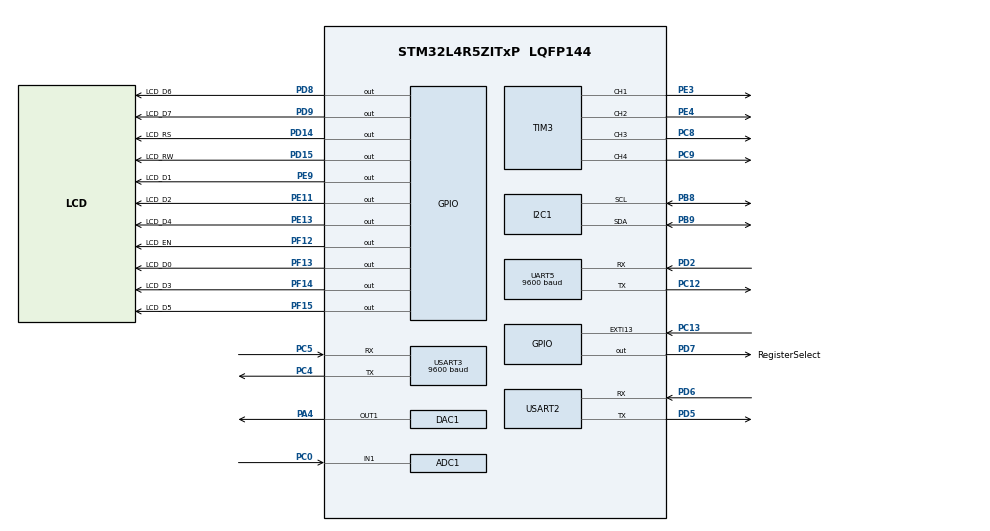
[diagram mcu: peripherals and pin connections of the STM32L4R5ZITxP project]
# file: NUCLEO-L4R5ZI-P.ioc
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ADC1.Channel-0\#ChannelRegularConversion=ADC_CHANNEL_1
ADC1.ClockPrescaler=ADC_CLOCK_ASYNC_DIV32
ADC1.ContinuousConvMode=ENABLE
ADC1.DMAContinuousRequests=ENABLE
ADC1.NbrOfConversion=1
ADC1.NbrOfConversionFlag=1
ADC1.OffsetNumber-0\#ChannelRegularConversion=ADC_OFFSET_NONE
ADC1.Rank-0\#ChannelRegularConversion=1
ADC1.SamplingTime-0\#ChannelRegularConversion=ADC_SAMPLETIME_640CYCLES_5
ADC1.master=1
Dma.ADC1.0.Direction=DMA_PERIPH_TO_MEMORY
Dma.ADC1.0.EventEnable=DISABLE
Dma.ADC1.0.Instance=DMA1_Channel1
Dma.ADC1.0.MemDataAlignment=DMA_MDATAALIGN_HALFWORD
Dma.ADC1.0.MemInc=DMA_MINC_ENABLE
Dma.ADC1.0.Mode=DMA_CIRCULAR
Dma.ADC1.0.PeriphDataAlignment=DMA_PDATAALIGN_HALFWORD
Dma.ADC1.0.PeriphInc=DMA_PINC_DISABLE
Dma.ADC1.0.Polarity=HAL_DMAMUX_REQUEST_GEN_RISING
Dma.ADC1.0.Priority=DMA_PRIORITY_LOW
Dma.ADC1.0.RequestNumber=1
Dma.ADC1.0.SignalID=NONE
Dma.ADC1.0.SyncEnable=DISABLE
Dma.ADC1.0.SyncPolarity=HAL_DMAMUX_SYNC_NO_EVENT
Dma.ADC1.0.SyncRequestNumber=1
Dma.ADC1.0.SyncSignalID=NONE
Dma.Request0=ADC1
I2C1.Timing=0x00100D14
Mcu.Family=STM32L4
Mcu.Name=STM32L4R5ZITxP
Mcu.Package=LQFP144
NVIC.DMA1_Channel1_IRQn=true\:0\:0\:false\:false\:true\:false\:true\:true
NVIC.EXTI15_10_IRQn=true\:0\:0\:false\:false\:true\:true\:true\:true
NVIC.PriorityGroup=NVIC_PRIORITYGROUP_4
NVIC.TIM2_IRQn=true\:0\:0\:false\:false\:true\:true\:true\:true
PA0.Signal=S_TIM2_CH1
PA1.Signal=ADCx_IN6
PA10.Signal=USB_OTG_FS_ID
PA13\ (JTMS/SWDIO).Signal=SYS_JTMS-SWDIO
PA14\ (JTCK/SWCLK).Signal=SYS_JTCK-SWCLK
PA3.Signal=ADCx_IN8
PA4.Signal=COMP_DAC11_group
PA5.Signal=SPI1_SCK
PA6.Signal=SPI1_MISO
PA7.Signal=SPI1_MOSI
PA8.Signal=USB_OTG_FS_SOF
PA9.Signal=USB_OTG_FS_VBUS
PB1.Signal=ADCx_IN16
PB10.Signal=S_TIM2_CH3
PB12.Signal=SAI2_FS_A
PB13.Signal=SAI2_SCK_A
PB14.Signal=S_TIM15_CH1
PB15.Signal=SAI2_SD_A
PB2.Signal=COMP1_INP
PB3\ (JTDO/TRACESWO).Signal=SPI3_SCK
PB5.Signal=SPI3_MOSI
PB6.Signal=COMP2_INP
PB8.Mode=I2C
PB8.Signal=I2C1_SCL
PB9.Mode=I2C
PB9.Signal=I2C1_SDA
PC0.Signal=ADCx_IN1
PC1.Signal=ADCx_IN2
PC10.Signal=SDMMC1_D2
PC11.Signal=SDMMC1_D3
PC12.Mode=Asynchronous
PC12.Signal=UART5_TX
PC13.Signal=GPXTI13
PC14-OSC32_IN\ (PC14).Signal=RCC_OSC32_IN
PC15-OSC32_OUT\ (PC15).Signal=RCC_OSC32_OUT
PC2.Signal=ADCx_IN3
PC3.Signal=ADCx_IN4
PC4.Mode=Asynchronous
PC4.Signal=USART3_TX
PC5.Mode=Asynchronous
PC5.Signal=USART3_RX
PC6.Signal=SAI2_MCLK_A
PC8.Signal=S_TIM3_CH3
PC9.Signal=S_TIM3_CH4
PD0.Signal=CAN1_RX
PD14.GPIO_Label=LCD_RS
PD14.Signal=GPIO_Output
PD15.GPIO_Label=LCD_RW
PD15.Signal=GPIO_Output
PD2.Mode=Asynchronous
PD2.Signal=UART5_RX
PD3.Signal=USART2_CTS
PD4.Signal=USART2_RTS
PD5.Mode=Asynchronous
PD5.Signal=USART2_TX
PD6.Mode=Asynchronous
PD6.Signal=USART2_RX
PD7.GPIO_Label=RegisterSelect
PD7.Signal=GPIO_Output
PD8.GPIO_Label=LCD_D6
PD8.Signal=GPIO_Output
PD9.GPIO_Label=LCD_D7
PD9.Signal=GPIO_Output
PE0.Signal=S_TIM4_ETR
PE10.Signal=TIM1_CH2N
PE11.GPIO_Label=LCD_D2
PE11.Signal=GPIO_Output
PE12.Signal=TIM1_CH3N
PE13.GPIO_Label=LCD_D4
PE13.Signal=GPIO_Output
PE14.Signal=TIM1_BKIN2
PE15.Signal=TIM1_BKIN
PE3.Signal=S_TIM3_CH1
PE4.Signal=S_TIM3_CH2
PE7.Signal=S_TIM1_ETR
PE8.Signal=TIM1_CH1N
PE9.GPIO_Label=LCD_D1
PE9.Signal=GPIO_Output
PF0.Signal=I2C2_SDA
PF1.Signal=I2C2_SCL
PF12.GPIO_Label=LCD_EN
PF12.Signal=GPIO_Output
PF13.GPIO_Label=LCD_D0
PF13.Signal=GPIO_Output
PF14.GPIO_Label=LCD_D3
PF14.Signal=GPIO_Output
PF15.GPIO_Label=LCD_D5
PF15.Signal=GPIO_Output
PF2.Signal=I2C2_SMBA
PF7.Signal=SAI1_MCLK_B
PG7.Signal=LPUART1_TX
PG8.Signal=LPUART1_RX
PH0-OSC_IN\ (PH0).Signal=RCC_OSC_IN
PH1-OSC_OUT\ (PH1).Signal=RCC_OSC_OUT
ProjectManager.HeapSize=0x200
ProjectManager.StackSize=0x400
ProjectManager.TargetToolchain=STM32CubeIDE
RCC.ADCFreq_Value=32000000
RCC.HSE_VALUE=8000000
RCC.HSI48_VALUE=48000000
RCC.HSI_VALUE=16000000
RCC.LSE_VALUE=32768
RCC.MSI_VALUE=4000000
RCC.PLLSAI1N=16
RCC.USBFreq_Value=32000000
RCC.VCOOutputFreq_Value=32000000
SH.ADCx_IN1.0=ADC1_IN1,IN1-Single-Ended
SH.ADCx_IN16.0=ADC1_IN16
SH.ADCx_IN2.0=ADC1_IN2
SH.ADCx_IN3.0=ADC1_IN3
SH.ADCx_IN4.0=ADC1_IN4
SH.ADCx_IN6.0=ADC1_IN6
SH.ADCx_IN8.0=ADC1_IN8
SH.COMP_DAC11_group.0=DAC1_OUT1,DAC_OUT1
SH.S_TIM15_CH1.0=TIM15_CH1
SH.S_TIM1_ETR.0=TIM1_ETR
SH.S_TIM2_CH1.0=TIM2_CH1
SH.S_TIM2_CH3.0=TIM2_CH3
SH.S_TIM3_CH1.0=TIM3_CH1,PWM Generation1 CH1
SH.S_TIM3_CH2.0=TIM3_CH2,PWM Generation2 CH2
SH.S_TIM3_CH3.0=TIM3_CH3,PWM Generation3 CH3
SH.S_TIM3_CH4.0=TIM3_CH4,PWM Generation4 CH4
SH.S_TIM4_ETR.0=TIM4_ETR
TIM2.Prescaler=3
TIM3.Channel-PWM\ Generation1\ CH1=TIM_CHANNEL_1
TIM3.Channel-PWM\ Generation2\ CH2=TIM_CHANNEL_2
TIM3.Channel-PWM\ Generation3\ CH3=TIM_CHANNEL_3
TIM3.Channel-PWM\ Generation4\ CH4=TIM_CHANNEL_4
UART5.BaudRate=9600
USART2.DataInvertParam=ADVFEATURE_DATAINV_DISABLE
USART2.TxPinLevelInvertParam=ADVFEATURE_TXINV_DISABLE
USART2.VirtualMode-Asynchronous=VM_ASYNC
USART3.BaudRate=9600
USART3.VirtualMode-Asynchronous=VM_ASYNC
VP_TIM2_VS_ClockSourceINT.Mode=Internal
VP_TIM3_VS_ClockSourceINT.Mode=Internal
board=NUCLEO-L4R5ZI-P

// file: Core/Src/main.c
/* USER CODE BEGIN Header */
/**
  ******************************************************************************
  * @file           : main.c
  * @brief          : Main program body
  ******************************************************************************
  * @attention
  *
  * Copyright (c) 2025 STMicroelectronics.
  * All rights reserved.
  *
  * This software is licensed under terms that can be found in the LICENSE file
  * in the root directory of this software component.
  * If no LICENSE file comes with this software, it is provided AS-IS.
  *
  ******************************************************************************
  */
/* USER CODE END Header */
#include "main.h"

/* USER CODE BEGIN Includes */
#define ADC_BUFFER_LENGTH 1
uint16_t adc_buffer[ADC_BUFFER_LENGTH];

/* USER CODE END Includes */

/* USER CODE BEGIN PD */

/*
 * MODES:
 * 0: Glove
 * 1: Vehicle
 * 2: Arm (Testing)
 */
#define MODE 0

// Add libraries as needed
#if MODE == 0
	#include "LiquidCrystal.h"

	#define accel_addr (0b0011001 << 1)
	#define CTRL_REG1_A 0x20
	#define lower_x (0x28 | 0x80)
	#define ACCELEROMETER_UART_ID 0
#elif MODE == 1
	#include <stdlib.h>
	#include <math.h>
	#include <string.h>
#elif MODE == 2
	#include "ArmDriver.h"
#endif
/* USER CODE END PD */

ADC_HandleTypeDef hadc1;
DMA_HandleTypeDef hdma_adc1;

DAC_HandleTypeDef hdac1;

I2C_HandleTypeDef hi2c1;

TIM_HandleTypeDef htim2;
TIM_HandleTypeDef htim3;

UART_HandleTypeDef huart5;
UART_HandleTypeDef huart2;
UART_HandleTypeDef huart3;

void SystemClock_Config(void);
static void MX_GPIO_Init(void);
static void MX_DMA_Init(void);
static void MX_I2C1_Init(void);
static void MX_ADC1_Init(void);
static void MX_DAC1_Init(void);
static void MX_USART3_UART_Init(void);
static void MX_TIM3_Init(void);
static void MX_UART5_Init(void);
static void MX_USART2_UART_Init(void);
static void MX_TIM2_Init(void);

/* USER CODE BEGIN 0 */

//#define MESSAGE_ID_POS 30
//#define NUM_PACKETS_POS 26
//#define CURRENT_PACKET_POS 22
//#define DATA_POS 6
//
//#define MESSAGE_ID_MASK (0b11 << MESSAGE_ID_POS)
//#define NUM_PACKETS_MASK (0xF << NUM_PACKETS_POS)
//#define CURRENT_PACKET_MASK (0xF << CURRENT_PACKET_POS)
//#define DATA_MASK (0xFFFF << DATA_POS)

#if MODE == 0
	int motor_on = 1;

	void HAL_GPIO_EXTI_Callback(uint16_t GPIO_Pin) {
		if(motor_on == 0) {
			motor_on = 1;
		}
		else {
			motor_on = 0;
		}
	}
#endif

// package data so that UART can receive consistent packages
// Data will be packaged into a 32-bit packets where:
// Bits 31-30: Message ID
// Bits 29-26: Total Number of Packets for this transmission
// Bits 25-22: Current packet number
// Bits 21-06: Data (16 bits = 2 chars)
// Bits 05-00: Reserved for idk
//uint32_t* packageData(int messageID, char* dataToPackage)
//{
//	// Get size of data
//	int size = 0;
//	char* dummy = dataToPackage;
//	while (dummy != NULL)
//	{
//		size++;
//		dummy++;
//	}
//
//	// Calculate number of packets (2 chars per packet)
//	int numPackets = ceil(size / 2);
//	if (numPackets > 16) { return NULL; }
//
//	// Package Data
//	uint32_t* packets = (uint32_t*)malloc(numPackets * sizeof(uint32_t));
//	for (int packetNum = 0; packetNum < numPackets; ++packetNum)
//	{
//		uint32_t toPackage = (messageID << MESSAGE_ID_POS) | (numPackets << NUM_PACKETS_POS) | (packetNum << CURRENT_PACKET_POS) | (dataToPackage[2*packetNum + 1] << (DATA_POS+8)) | (dataToPackage[2*packetNum] << DATA_POS);
//		packets[packetNum] = toPackage;
//	}
//
//	return packets;
//}
/* USER CODE END 0 */

int main(void)
{

  /* MCU Configuration--------------------------------------------------------*/

  /* Reset of all peripherals, Initializes the Flash interface and the Systick. */
  HAL_Init();

  /* Configure the system clock */
  SystemClock_Config();

  /* Initialize all configured peripherals */
  MX_GPIO_Init();
  MX_DMA_Init();
  MX_I2C1_Init();
  MX_ADC1_Init();
  MX_DAC1_Init();
  MX_USART3_UART_Init();
  MX_TIM3_Init();
  MX_UART5_Init();
  MX_USART2_UART_Init();
  MX_TIM2_Init();
  /* USER CODE BEGIN 2 */

  HAL_ADC_Start_DMA(&hadc1, (uint32_t*)adc_buffer, ADC_BUFFER_LENGTH);

#if MODE == 0 || MODE == 1
	// init variables
//	HAL_StatusTypeDef ret;
//	uint8_t buf[50];
//
//	int16_t x_val, y_val, z_val = 0;
//	char x_str[100];
//	char y_str[100];
//	char z_str[100];
//	char adc_str[100];

#endif

  #if MODE == 0
//    // Enable accelerometer
//    buf[0] = CTRL_REG1_A;
//    buf[1] = 0b10010111;
//
//    ret = HAL_I2C_Master_Transmit(&hi2c1, accel_addr, buf, 2, HAL_MAX_DELAY);
//    if (ret != HAL_OK) { return 1; } // return with error code 1
//
//    // Enable screen
//    LiquidCrystal_init(0);
  #elif MODE == 1
	HAL_TIM_PWM_Start(&htim3, TIM_CHANNEL_3);
	TIM3->PSC = 7;
	TIM3->ARR = 3999;

	HAL_TIM_PWM_Start(&htim3, TIM_CHANNEL_1);
	HAL_TIM_PWM_Start(&htim3, TIM_CHANNEL_2);
	HAL_TIM_PWM_Start(&htim3, TIM_CHANNEL_4);
	TIM3->CCR1 = 0;
	TIM3->CCR2 = 0;
	TIM3->CCR3 = 0;
	TIM3->CCR4 = 0;
  #elif MODE == 2
	// Enable arm
	// Note: Baud Rate = 115200
	LX16ABus_init(&huart2);
  #endif

  /* USER CODE END 2 */

  /* Infinite loop */
  /* USER CODE BEGIN WHILE */
  while (1)
  {
	#if MODE == 0
	  	HAL_Delay(50);

//		// Retrieve accelerometer values
//		buf[0] = lower_x;
//		ret = HAL_I2C_Master_Transmit(&hi2c1, accel_addr, buf, 1, HAL_MAX_DELAY);
//		if (ret != HAL_OK) { continue; }
//		ret = HAL_I2C_Master_Receive(&hi2c1, accel_addr, buf, 6, HAL_MAX_DELAY);
//		if (ret != HAL_OK) { continue; }
//
//		x_val = (buf[1] << 8) | buf[0];
//		y_val = (buf[3] << 8) | buf[2];
//		z_val = (buf[5] << 8) | buf[4];

		// Convert to string
//		sprintf(x_str, "%.1f", (float)x_val / 16000.0);
//		sprintf(y_str, "%.1f", (float)y_val / 16000.0);
//		sprintf(z_str, "%.1f", (float)z_val / 16000.0);
//
//		if (x_val >= 0)
//		{
//			x_str[3] = ' ';
//			x_str[4] = '\0';
//		}
//		if (y_val >= 0)
//		{
//			y_str[3] = ' ';
//			y_str[4] = '\0';
//		}
//		if (z_val >= 0)
//		{
//			z_str[3] = ' ';
//			z_str[4] = '\0';
//		}

		// Package Data (Accelerometer values message ID = 0; TODO: different IDs for x,y,z
//			uint32_t* x_str_packaged = packageData(ACCELEROMETER_UART_ID, x_str);
//			uint32_t* y_str_packaged = packageData(ACCELEROMETER_UART_ID, y_str);
//			uint32_t* z_str_packaged = packageData(ACCELEROMETER_UART_ID, z_str);
//
//			HAL_UART_Transmit(&huart5, x_str_packaged, (x_str_packaged & NUM_PACKETS_MASK) >> NUM_PACKETS_POS, 0xFFFF);
//			HAL_UART_Transmit(&huart5, y_str_packaged, (y_str_packaged & NUM_PACKETS_MASK) >> NUM_PACKETS_POS, 0xFFFF);
//			HAL_UART_Transmit(&huart5, z_str_packaged, (z_str_packaged & NUM_PACKETS_MASK) >> NUM_PACKETS_POS, 0xFFFF);
//		char x_send[8];
//		char y_send[8];
//		char z_send[8];
//
//		char final_send[41];
//		final_send[0] = '#';
//		sprintf(x_send, "%d", x_val);
//		sprintf(y_send, "%d", y_val);
//		sprintf(z_send, "%d", z_val);
//
//		memcpy(final_send+1, x_send, 8);
//		memcpy(final_send+9, y_send, 8);
//		memcpy(final_send+17, z_send, 8);

		// Transmit accelerometer values
		//HAL_UART_Transmit(&huart5, (const uint8_t *)acc_send, 25, 0xFFFF);
//		HAL_UART_Transmit(&huart5, (const uint8_t *)x_send, 8, 0xFFFF);
//		HAL_UART_Transmit(&huart5, (const uint8_t *)y_send, 8, 0xFFFF);
//		HAL_UART_Transmit(&huart5, (const uint8_t *)z_send, 8, 0xFFFF);

		// Retrieve ADC values
//		HAL_ADC_Start(&hadc1);
//		HAL_ADC_PollForConversion(&hadc1, 0xFFFFFFFF);
		uint16_t ADC_raw = 0;
		ADC_raw = adc_buffer[0];
		uint16_t dummy = 0;

		// Transmit ADC (flex sensor) values
		//char flex_send[17];
		//flex_send[0] = '#';

//		sprintf(adc_str, "%d", ADC_raw);
//		memcpy(final_send+25, adc_str, 16);
//		HAL_UART_Transmit(&huart5, (const uint8_t *)final_send, 41, 0xFFFF);
//
//		//Print to LCD Screen
//		LiquidCrystal_clear();
//		LiquidCrystal_print("x:");
//		LiquidCrystal_print(x_send);
//		//LiquidCrystal_print(" | ");
//		LiquidCrystal_print("y:");
//		LiquidCrystal_print(y_send);
//		LiquidCrystal_setCursor(0, 1);
//		LiquidCrystal_print("z:");
//		LiquidCrystal_print(z_send);
		//LiquidCrystal_print(" | ");
		//LiquidCrystal_print(adc_str);
	#elif MODE == 1
		ret = HAL_UART_Receive(&huart5, buf, 24, HAL_MAX_DELAY);
		if (ret != HAL_OK) { continue; }

		int i = 0;
		int j = 0;
		while(buf[i] != '\0') {
			x_str[j] = buf[i];
			++j;
			++i;
		}
		x_str[j] = '\0';
		j = 0;
		i = 8;
		while(buf[i] != '\0') {
			y_str[j] = buf[i];
			++j;
			++i;
		}
		y_str[j] = '\0';
		j = 0;
		i = 16;
		while(buf[i] != '\0') {
			z_str[j] = buf[i];
			++j;
			++i;
		}
		z_str[j] = '\0';

		// Receive flex sensor values
		ret = HAL_UART_Receive(&huart5, buf, 16, HAL_MAX_DELAY);
		if (ret != HAL_OK) { continue; }

		memcpy(adc_str, buf, 16);

		// Convert accelerometer values to pwm
		// Note: range: 500-12500
		x_val = atoi(x_str);
		y_val = atoi(y_str);
		z_val = atoi(z_str);

		x_val = (abs(x_val) > 12500) ? (x_val < 0 ? -12000 : 12000) : x_val;
		x_val = (abs(x_val) < 1000) ? 0 : x_val;
		y_val = (abs(y_val) > 12500) ? (y_val < 0 ? -12000 : 12000) : y_val;
		y_val = (abs(y_val) < 1000) ? 0 : y_val;
		z_val = (abs(z_val) > 12500) ? (z_val < 0 ? -12000 : 12000) : z_val;
		z_val = (abs(z_val) < 1000) ? 0 : z_val;

		float x_float = x_val / 12000.0;
		float y_float = y_val / 12000.0;
		float z_float = z_val / 12000.0;

		x_float = x_float * 1023;
		y_float = y_float * 1023;
		z_float = z_float * 1023;

		float nMotPremixL, nMotPremixR, nPivSpeed, fPivScale, nMotMixL, nMotMixR;

		if (y_float >= 0) {
		  // Forward
		  nMotPremixL = (x_float>=0)? 1023.0 : (1023.0 + x_float);
		  nMotPremixR = (x_float>=0)? (1023.0 - x_float) : 1023.0;
		} else {
		  // Reverse
		  nMotPremixL = (x_float>=0)? (1023.0 - x_float) : 1023.0;
		  nMotPremixR = (x_float>=0)? 1023.0 : (1023.0 + x_float);
		}

		// Scale Drive output due to Joystick Y input (throttle)
		nMotPremixL = nMotPremixL * y_float/1023.0;
		nMotPremixR = nMotPremixR * y_float/1023.0;

		// Now calculate pivot amount
		// - Strength of pivot (nPivSpeed) based on Joystick X input
		// - Blending of pivot vs drive (fPivScale) based on Joystick Y input
		nPivSpeed = x_float;
		fPivScale = (fabs(y_float)>1023)? 0.0 : (1.0 - fabs(y_float)/1023);

		// Calculate final mix of Drive and Pivot
		nMotMixL = (1.0-fPivScale)*nMotPremixL + fPivScale*( nPivSpeed);
		nMotMixR = (1.0-fPivScale)*nMotPremixR + fPivScale*(-nPivSpeed);
		int CCRL = abs((int)((nMotMixL / 1023) * 4000));
		int CCRR = abs((int)((nMotMixR / 1023) * 4000));
//			char x_x[10];
//			char y_y[10];
//			sprintf(x_x, "%.2f", x_float);
//			sprintf(y_y, "%.2f", y_float);
//			HAL_UART_Transmit(&huart5, x_x, 8, 0xFFFF);
//			HAL_UART_Transmit(&huart5, y_y, 8, 0xFFFF);
		// TIM3 CHANNEL 1 = IN1
		// TIM3 CHANNEL 2 = IN2
		// TIM3 CHANNEL 3 = IN3
		// TIME CHANNEL 4 = IN4

		// send pwm
		if (nMotMixL > 0)
		{
			TIM3->CCR3 = CCRL;
			TIM3->CCR4 = 0;
		}
		else
		{
			TIM3->CCR3 = 0;
			TIM3->CCR4 = CCRL;
		}
		if (nMotMixR > 0)
		{
			TIM3->CCR1 = CCRR;
			TIM3->CCR2 = 0;
		}
		else
		{
			TIM3->CCR1 = 0;
			TIM3->CCR2 = CCRR;
		}
	#elif MODE == 2
		/*
		 * ARM IDs:
		 * 1: Open/Close Hand
		 * 2: Wrist roll
		 * 3: Wrist pitch
		 * 4: Elbow pitch
		 * 5: Shoulder pitch (?)
		 * 6: Shoulder yaw (?)
		 */
		ArmPos(0);
//		for(int i = 0; i < 100; ++i) {
//			ArmPos(i);
//			HAL_Delay(100);
//		}
//		for(int i = 100; i > 0; --i) {
//			ArmPos(i);
//			HAL_Delay(100);
//		}
//		ret = HAL_UART_Receive(&huart5, buf, 24, HAL_MAX_DELAY);
//		if (ret != HAL_OK) { continue; }
//
//		int i = 0;
//		int j = 0;
//		while(buf[i] != '\0') {
//			x_str[j] = buf[i];
//			++j;
//			++i;
//		}
//		x_str[j] = '\0';
//		j = 0;
//		i = 8;
//		while(buf[i] != '\0') {
//			y_str[j] = buf[i];
//			++j;
//			++i;
//		}
//		y_str[j] = '\0';
//		j = 0;
//		i = 16;
//		while(buf[i] != '\0') {
//			z_str[j] = buf[i];
//			++j;
//			++i;
//		}
//		z_str[j] = '\0';
//		x_val = atoi(x_str);
//		y_val = atoi(y_str);
//		z_val = atoi(z_str);
//		y_val = (abs(y_val) > 12500) ? (y_val < 0 ? -12000 : 12000) : y_val;
//		y_val = (abs(y_val) < 1000) ? 0 : y_val;
//		y_val = abs(y_val);
//		ArmPos((int)((y_val/12000.0)*100));
	#else
		#error "Invalid mode"
	#endif
    /* USER CODE END WHILE */

  }
}

void SystemClock_Config(void)
{
  RCC_OscInitTypeDef RCC_OscInitStruct = {0};
  RCC_ClkInitTypeDef RCC_ClkInitStruct = {0};

  /** Configure the main internal regulator output voltage
  */
  if (HAL_PWREx_ControlVoltageScaling(PWR_REGULATOR_VOLTAGE_SCALE1) != HAL_OK)
  {
    Error_Handler();
  }

  /** Initializes the RCC Oscillators according to the specified parameters
  * in the RCC_OscInitTypeDef structure.
  */
  RCC_OscInitStruct.OscillatorType = RCC_OSCILLATORTYPE_MSI;
  RCC_OscInitStruct.MSIState = RCC_MSI_ON;
  RCC_OscInitStruct.MSICalibrationValue = 0;
  RCC_OscInitStruct.MSIClockRange = RCC_MSIRANGE_6;
  RCC_OscInitStruct.PLL.PLLState = RCC_PLL_NONE;
  if (HAL_RCC_OscConfig(&RCC_OscInitStruct) != HAL_OK)
  {
    Error_Handler();
  }

  /** Initializes the CPU, AHB and APB buses clocks
  */
  RCC_ClkInitStruct.ClockType = RCC_CLOCKTYPE_HCLK|RCC_CLOCKTYPE_SYSCLK
                              |RCC_CLOCKTYPE_PCLK1|RCC_CLOCKTYPE_PCLK2;
  RCC_ClkInitStruct.SYSCLKSource = RCC_SYSCLKSOURCE_MSI;
  RCC_ClkInitStruct.AHBCLKDivider = RCC_SYSCLK_DIV1;
  RCC_ClkInitStruct.APB1CLKDivider = RCC_HCLK_DIV1;
  RCC_ClkInitStruct.APB2CLKDivider = RCC_HCLK_DIV1;

  if (HAL_RCC_ClockConfig(&RCC_ClkInitStruct, FLASH_LATENCY_0) != HAL_OK)
  {
    Error_Handler();
  }
}

static void MX_ADC1_Init(void)
{

  ADC_ChannelConfTypeDef sConfig = {0};

  /** Common config
  */
  hadc1.Instance = ADC1;
  hadc1.Init.ClockPrescaler = ADC_CLOCK_ASYNC_DIV32;
  hadc1.Init.Resolution = ADC_RESOLUTION_12B;
  hadc1.Init.DataAlign = ADC_DATAALIGN_RIGHT;
  hadc1.Init.ScanConvMode = ADC_SCAN_DISABLE;
  hadc1.Init.EOCSelection = ADC_EOC_SINGLE_CONV;
  hadc1.Init.LowPowerAutoWait = DISABLE;
  hadc1.Init.ContinuousConvMode = ENABLE;
  hadc1.Init.NbrOfConversion = 1;
  hadc1.Init.DiscontinuousConvMode = DISABLE;
  hadc1.Init.ExternalTrigConv = ADC_SOFTWARE_START;
  hadc1.Init.ExternalTrigConvEdge = ADC_EXTERNALTRIGCONVEDGE_NONE;
  hadc1.Init.DMAContinuousRequests = ENABLE;
  hadc1.Init.Overrun = ADC_OVR_DATA_PRESERVED;
  hadc1.Init.OversamplingMode = DISABLE;
  if (HAL_ADC_Init(&hadc1) != HAL_OK)
  {
    Error_Handler();
  }

  /** Configure Regular Channel
  */
  sConfig.Channel = ADC_CHANNEL_1;
  sConfig.Rank = ADC_REGULAR_RANK_1;
  sConfig.SamplingTime = ADC_SAMPLETIME_640CYCLES_5;
  sConfig.SingleDiff = ADC_SINGLE_ENDED;
  sConfig.OffsetNumber = ADC_OFFSET_NONE;
  sConfig.Offset = 0;
  if (HAL_ADC_ConfigChannel(&hadc1, &sConfig) != HAL_OK)
  {
    Error_Handler();
  }

}

static void MX_DAC1_Init(void)
{

  DAC_ChannelConfTypeDef sConfig = {0};

  /** DAC Initialization
  */
  hdac1.Instance = DAC1;
  if (HAL_DAC_Init(&hdac1) != HAL_OK)
  {
    Error_Handler();
  }

  /** DAC channel OUT1 config
  */
  sConfig.DAC_SampleAndHold = DAC_SAMPLEANDHOLD_DISABLE;
  sConfig.DAC_Trigger = DAC_TRIGGER_NONE;
  sConfig.DAC_HighFrequency = DAC_HIGH_FREQUENCY_INTERFACE_MODE_DISABLE;
  sConfig.DAC_OutputBuffer = DAC_OUTPUTBUFFER_ENABLE;
  sConfig.DAC_ConnectOnChipPeripheral = DAC_CHIPCONNECT_DISABLE;
  sConfig.DAC_UserTrimming = DAC_TRIMMING_FACTORY;
  if (HAL_DAC_ConfigChannel(&hdac1, &sConfig, DAC_CHANNEL_1) != HAL_OK)
  {
    Error_Handler();
  }

}

static void MX_I2C1_Init(void)
{

  hi2c1.Instance = I2C1;
  hi2c1.Init.Timing = 0x00100D14;
  hi2c1.Init.OwnAddress1 = 0;
  hi2c1.Init.AddressingMode = I2C_ADDRESSINGMODE_7BIT;
  hi2c1.Init.DualAddressMode = I2C_DUALADDRESS_DISABLE;
  hi2c1.Init.OwnAddress2 = 0;
  hi2c1.Init.OwnAddress2Masks = I2C_OA2_NOMASK;
  hi2c1.Init.GeneralCallMode = I2C_GENERALCALL_DISABLE;
  hi2c1.Init.NoStretchMode = I2C_NOSTRETCH_DISABLE;
  if (HAL_I2C_Init(&hi2c1) != HAL_OK)
  {
    Error_Handler();
  }

  /** Configure Analogue filter
  */
  if (HAL_I2CEx_ConfigAnalogFilter(&hi2c1, I2C_ANALOGFILTER_ENABLE) != HAL_OK)
  {
    Error_Handler();
  }

  /** Configure Digital filter
  */
  if (HAL_I2CEx_ConfigDigitalFilter(&hi2c1, 0) != HAL_OK)
  {
    Error_Handler();
  }

}

static void MX_TIM2_Init(void)
{

  TIM_ClockConfigTypeDef sClockSourceConfig = {0};
  TIM_MasterConfigTypeDef sMasterConfig = {0};

  htim2.Instance = TIM2;
  htim2.Init.Prescaler = 3;
  htim2.Init.CounterMode = TIM_COUNTERMODE_UP;
  htim2.Init.Period = 4294967295;
  htim2.Init.ClockDivision = TIM_CLOCKDIVISION_DIV1;
  htim2.Init.AutoReloadPreload = TIM_AUTORELOAD_PRELOAD_DISABLE;
  if (HAL_TIM_Base_Init(&htim2) != HAL_OK)
  {
    Error_Handler();
  }
  sClockSourceConfig.ClockSource = TIM_CLOCKSOURCE_INTERNAL;
  if (HAL_TIM_ConfigClockSource(&htim2, &sClockSourceConfig) != HAL_OK)
  {
    Error_Handler();
  }
  sMasterConfig.MasterOutputTrigger = TIM_TRGO_RESET;
  sMasterConfig.MasterSlaveMode = TIM_MASTERSLAVEMODE_DISABLE;
  if (HAL_TIMEx_MasterConfigSynchronization(&htim2, &sMasterConfig) != HAL_OK)
  {
    Error_Handler();
  }

}

static void MX_TIM3_Init(void)
{

  TIM_ClockConfigTypeDef sClockSourceConfig = {0};
  TIM_MasterConfigTypeDef sMasterConfig = {0};
  TIM_OC_InitTypeDef sConfigOC = {0};

  htim3.Instance = TIM3;
  htim3.Init.Prescaler = 0;
  htim3.Init.CounterMode = TIM_COUNTERMODE_UP;
  htim3.Init.Period = 65535;
  htim3.Init.ClockDivision = TIM_CLOCKDIVISION_DIV1;
  htim3.Init.AutoReloadPreload = TIM_AUTORELOAD_PRELOAD_DISABLE;
  if (HAL_TIM_Base_Init(&htim3) != HAL_OK)
  {
    Error_Handler();
  }
  sClockSourceConfig.ClockSource = TIM_CLOCKSOURCE_INTERNAL;
  if (HAL_TIM_ConfigClockSource(&htim3, &sClockSourceConfig) != HAL_OK)
  {
    Error_Handler();
  }
  if (HAL_TIM_PWM_Init(&htim3) != HAL_OK)
  {
    Error_Handler();
  }
  sMasterConfig.MasterOutputTrigger = TIM_TRGO_RESET;
  sMasterConfig.MasterSlaveMode = TIM_MASTERSLAVEMODE_DISABLE;
  if (HAL_TIMEx_MasterConfigSynchronization(&htim3, &sMasterConfig) != HAL_OK)
  {
    Error_Handler();
  }
  sConfigOC.OCMode = TIM_OCMODE_PWM1;
  sConfigOC.Pulse = 0;
  sConfigOC.OCPolarity = TIM_OCPOLARITY_HIGH;
  sConfigOC.OCFastMode = TIM_OCFAST_DISABLE;
  if (HAL_TIM_PWM_ConfigChannel(&htim3, &sConfigOC, TIM_CHANNEL_1) != HAL_OK)
  {
    Error_Handler();
  }
  if (HAL_TIM_PWM_ConfigChannel(&htim3, &sConfigOC, TIM_CHANNEL_2) != HAL_OK)
  {
    Error_Handler();
  }
  if (HAL_TIM_PWM_ConfigChannel(&htim3, &sConfigOC, TIM_CHANNEL_3) != HAL_OK)
  {
    Error_Handler();
  }
  if (HAL_TIM_PWM_ConfigChannel(&htim3, &sConfigOC, TIM_CHANNEL_4) != HAL_OK)
  {
    Error_Handler();
  }
  HAL_TIM_MspPostInit(&htim3);

}

static void MX_UART5_Init(void)
{

  huart5.Instance = UART5;
  huart5.Init.BaudRate = 9600;
  huart5.Init.WordLength = UART_WORDLENGTH_8B;
  huart5.Init.StopBits = UART_STOPBITS_1;
  huart5.Init.Parity = UART_PARITY_NONE;
  huart5.Init.Mode = UART_MODE_TX_RX;
  huart5.Init.HwFlowCtl = UART_HWCONTROL_NONE;
  huart5.Init.OverSampling = UART_OVERSAMPLING_16;
  huart5.Init.OneBitSampling = UART_ONE_BIT_SAMPLE_DISABLE;
  huart5.Init.ClockPrescaler = UART_PRESCALER_DIV1;
  huart5.AdvancedInit.AdvFeatureInit = UART_ADVFEATURE_NO_INIT;
  if (HAL_UART_Init(&huart5) != HAL_OK)
  {
    Error_Handler();
  }
  if (HAL_UARTEx_SetTxFifoThreshold(&huart5, UART_TXFIFO_THRESHOLD_1_8) != HAL_OK)
  {
    Error_Handler();
  }
  if (HAL_UARTEx_SetRxFifoThreshold(&huart5, UART_RXFIFO_THRESHOLD_1_8) != HAL_OK)
  {
    Error_Handler();
  }
  if (HAL_UARTEx_DisableFifoMode(&huart5) != HAL_OK)
  {
    Error_Handler();
  }

}

static void MX_USART2_UART_Init(void)
{

  huart2.Instance = USART2;
  huart2.Init.BaudRate = 115200;
  huart2.Init.WordLength = UART_WORDLENGTH_8B;
  huart2.Init.StopBits = UART_STOPBITS_1;
  huart2.Init.Parity = UART_PARITY_NONE;
  huart2.Init.Mode = UART_MODE_TX_RX;
  huart2.Init.HwFlowCtl = UART_HWCONTROL_NONE;
  huart2.Init.OverSampling = UART_OVERSAMPLING_16;
  huart2.Init.OneBitSampling = UART_ONE_BIT_SAMPLE_DISABLE;
  huart2.Init.ClockPrescaler = UART_PRESCALER_DIV1;
  huart2.AdvancedInit.AdvFeatureInit = UART_ADVFEATURE_NO_INIT;
  if (HAL_UART_Init(&huart2) != HAL_OK)
  {
    Error_Handler();
  }
  if (HAL_UARTEx_SetTxFifoThreshold(&huart2, UART_TXFIFO_THRESHOLD_1_8) != HAL_OK)
  {
    Error_Handler();
  }
  if (HAL_UARTEx_SetRxFifoThreshold(&huart2, UART_RXFIFO_THRESHOLD_1_8) != HAL_OK)
  {
    Error_Handler();
  }
  if (HAL_UARTEx_DisableFifoMode(&huart2) != HAL_OK)
  {
    Error_Handler();
  }

}

static void MX_USART3_UART_Init(void)
{

  huart3.Instance = USART3;
  huart3.Init.BaudRate = 9600;
  huart3.Init.WordLength = UART_WORDLENGTH_8B;
  huart3.Init.StopBits = UART_STOPBITS_1;
  huart3.Init.Parity = UART_PARITY_NONE;
  huart3.Init.Mode = UART_MODE_TX_RX;
  huart3.Init.HwFlowCtl = UART_HWCONTROL_NONE;
  huart3.Init.OverSampling = UART_OVERSAMPLING_16;
  huart3.Init.OneBitSampling = UART_ONE_BIT_SAMPLE_DISABLE;
  huart3.Init.ClockPrescaler = UART_PRESCALER_DIV1;
  huart3.AdvancedInit.AdvFeatureInit = UART_ADVFEATURE_NO_INIT;
  if (HAL_UART_Init(&huart3) != HAL_OK)
  {
    Error_Handler();
  }
  if (HAL_UARTEx_SetTxFifoThreshold(&huart3, UART_TXFIFO_THRESHOLD_1_8) != HAL_OK)
  {
    Error_Handler();
  }
  if (HAL_UARTEx_SetRxFifoThreshold(&huart3, UART_RXFIFO_THRESHOLD_1_8) != HAL_OK)
  {
    Error_Handler();
  }
  if (HAL_UARTEx_DisableFifoMode(&huart3) != HAL_OK)
  {
    Error_Handler();
  }

}

static void MX_DMA_Init(void)
{

  /* DMA controller clock enable */
  __HAL_RCC_DMAMUX1_CLK_ENABLE();
  __HAL_RCC_DMA1_CLK_ENABLE();

  /* DMA interrupt init */
  /* DMA1_Channel1_IRQn interrupt configuration */
  HAL_NVIC_SetPriority(DMA1_Channel1_IRQn, 0, 0);
  HAL_NVIC_EnableIRQ(DMA1_Channel1_IRQn);

}

static void MX_GPIO_Init(void)
{
  GPIO_InitTypeDef GPIO_InitStruct = {0};

  /* GPIO Ports Clock Enable */
  __HAL_RCC_GPIOE_CLK_ENABLE();
  __HAL_RCC_GPIOC_CLK_ENABLE();
  __HAL_RCC_GPIOF_CLK_ENABLE();
  __HAL_RCC_GPIOH_CLK_ENABLE();
  __HAL_RCC_GPIOA_CLK_ENABLE();
  __HAL_RCC_GPIOB_CLK_ENABLE();
  __HAL_RCC_GPIOD_CLK_ENABLE();
  __HAL_RCC_GPIOG_CLK_ENABLE();
  HAL_PWREx_EnableVddIO2();

  /*Configure GPIO pin Output Level */
  HAL_GPIO_WritePin(GPIOF, LCD_EN_Pin|LCD_D0_Pin|LCD_D3_Pin|LCD_D5_Pin, GPIO_PIN_RESET);

  /*Configure GPIO pin Output Level */
  HAL_GPIO_WritePin(GPIOE, LCD_D1_Pin|LCD_D2_Pin|LCD_D4_Pin, GPIO_PIN_RESET);

  /*Configure GPIO pin Output Level */
  HAL_GPIO_WritePin(GPIOD, LCD_D6_Pin|LCD_D7_Pin|LCD_RS_Pin|LCD_RW_Pin
                          |RegisterSelect_Pin, GPIO_PIN_RESET);

  /*Configure GPIO pin : PC13 */
  GPIO_InitStruct.Pin = GPIO_PIN_13;
  GPIO_InitStruct.Mode = GPIO_MODE_IT_RISING;
  GPIO_InitStruct.Pull = GPIO_NOPULL;
  HAL_GPIO_Init(GPIOC, &GPIO_InitStruct);

  /*Configure GPIO pins : PF0 PF1 PF2 */
  GPIO_InitStruct.Pin = GPIO_PIN_0|GPIO_PIN_1|GPIO_PIN_2;
  GPIO_InitStruct.Mode = GPIO_MODE_AF_OD;
  GPIO_InitStruct.Pull = GPIO_NOPULL;
  GPIO_InitStruct.Speed = GPIO_SPEED_FREQ_VERY_HIGH;
  GPIO_InitStruct.Alternate = GPIO_AF4_I2C2;
  HAL_GPIO_Init(GPIOF, &GPIO_InitStruct);

  /*Configure GPIO pin : PF7 */
  GPIO_InitStruct.Pin = GPIO_PIN_7;
  GPIO_InitStruct.Mode = GPIO_MODE_AF_PP;
  GPIO_InitStruct.Pull = GPIO_NOPULL;
  GPIO_InitStruct.Speed = GPIO_SPEED_FREQ_LOW;
  GPIO_InitStruct.Alternate = GPIO_AF13_SAI1;
  HAL_GPIO_Init(GPIOF, &GPIO_InitStruct);

  /*Configure GPIO pins : PA5 PA6 PA7 */
  GPIO_InitStruct.Pin = GPIO_PIN_5|GPIO_PIN_6|GPIO_PIN_7;
  GPIO_InitStruct.Mode = GPIO_MODE_AF_PP;
  GPIO_InitStruct.Pull = GPIO_NOPULL;
  GPIO_InitStruct.Speed = GPIO_SPEED_FREQ_VERY_HIGH;
  GPIO_InitStruct.Alternate = GPIO_AF5_SPI1;
  HAL_GPIO_Init(GPIOA, &GPIO_InitStruct);

  /*Configure GPIO pins : PB2 PB6 */
  GPIO_InitStruct.Pin = GPIO_PIN_2|GPIO_PIN_6;
  GPIO_InitStruct.Mode = GPIO_MODE_ANALOG;
  GPIO_InitStruct.Pull = GPIO_NOPULL;
  HAL_GPIO_Init(GPIOB, &GPIO_InitStruct);

  /*Configure GPIO pins : LCD_EN_Pin LCD_D0_Pin LCD_D3_Pin LCD_D5_Pin */
  GPIO_InitStruct.Pin = LCD_EN_Pin|LCD_D0_Pin|LCD_D3_Pin|LCD_D5_Pin;
  GPIO_InitStruct.Mode = GPIO_MODE_OUTPUT_PP;
  GPIO_InitStruct.Pull = GPIO_NOPULL;
  GPIO_InitStruct.Speed = GPIO_SPEED_FREQ_LOW;
  HAL_GPIO_Init(GPIOF, &GPIO_InitStruct);

  /*Configure GPIO pins : PE7 PE8 PE10 PE12 */
  GPIO_InitStruct.Pin = GPIO_PIN_7|GPIO_PIN_8|GPIO_PIN_10|GPIO_PIN_12;
  GPIO_InitStruct.Mode = GPIO_MODE_AF_PP;
  GPIO_InitStruct.Pull = GPIO_NOPULL;
  GPIO_InitStruct.Speed = GPIO_SPEED_FREQ_LOW;
  GPIO_InitStruct.Alternate = GPIO_AF1_TIM1;
  HAL_GPIO_Init(GPIOE, &GPIO_InitStruct);

  /*Configure GPIO pins : LCD_D1_Pin LCD_D2_Pin LCD_D4_Pin */
  GPIO_InitStruct.Pin = LCD_D1_Pin|LCD_D2_Pin|LCD_D4_Pin;
  GPIO_InitStruct.Mode = GPIO_MODE_OUTPUT_PP;
  GPIO_InitStruct.Pull = GPIO_NOPULL;
  GPIO_InitStruct.Speed = GPIO_SPEED_FREQ_LOW;
  HAL_GPIO_Init(GPIOE, &GPIO_InitStruct);

  /*Configure GPIO pins : PE14 PE15 */
  GPIO_InitStruct.Pin = GPIO_PIN_14|GPIO_PIN_15;
  GPIO_InitStruct.Mode = GPIO_MODE_AF_PP;
  GPIO_InitStruct.Pull = GPIO_NOPULL;
  GPIO_InitStruct.Speed = GPIO_SPEED_FREQ_LOW;
  GPIO_InitStruct.Alternate = GPIO_AF3_TIM1_COMP1;
  HAL_GPIO_Init(GPIOE, &GPIO_InitStruct);

  /*Configure GPIO pins : PB12 PB13 PB15 */
  GPIO_InitStruct.Pin = GPIO_PIN_12|GPIO_PIN_13|GPIO_PIN_15;
  GPIO_InitStruct.Mode = GPIO_MODE_AF_PP;
  GPIO_InitStruct.Pull = GPIO_NOPULL;
  GPIO_InitStruct.Speed = GPIO_SPEED_FREQ_LOW;
  GPIO_InitStruct.Alternate = GPIO_AF13_SAI2;
  HAL_GPIO_Init(GPIOB, &GPIO_InitStruct);

  /*Configure GPIO pin : PB14 */
  GPIO_InitStruct.Pin = GPIO_PIN_14;
  GPIO_InitStruct.Mode = GPIO_MODE_AF_PP;
  GPIO_InitStruct.Pull = GPIO_NOPULL;
  GPIO_InitStruct.Speed = GPIO_SPEED_FREQ_LOW;
  GPIO_InitStruct.Alternate = GPIO_AF14_TIM15;
  HAL_GPIO_Init(GPIOB, &GPIO_InitStruct);

  /*Configure GPIO pins : LCD_D6_Pin LCD_D7_Pin LCD_RS_Pin LCD_RW_Pin
                           RegisterSelect_Pin */
  GPIO_InitStruct.Pin = LCD_D6_Pin|LCD_D7_Pin|LCD_RS_Pin|LCD_RW_Pin
                          |RegisterSelect_Pin;
  GPIO_InitStruct.Mode = GPIO_MODE_OUTPUT_PP;
  GPIO_InitStruct.Pull = GPIO_NOPULL;
  GPIO_InitStruct.Speed = GPIO_SPEED_FREQ_LOW;
  HAL_GPIO_Init(GPIOD, &GPIO_InitStruct);

  /*Configure GPIO pins : PG7 PG8 */
  GPIO_InitStruct.Pin = GPIO_PIN_7|GPIO_PIN_8;
  GPIO_InitStruct.Mode = GPIO_MODE_AF_PP;
  GPIO_InitStruct.Pull = GPIO_NOPULL;
  GPIO_InitStruct.Speed = GPIO_SPEED_FREQ_VERY_HIGH;
  GPIO_InitStruct.Alternate = GPIO_AF8_LPUART1;
  HAL_GPIO_Init(GPIOG, &GPIO_InitStruct);

  /*Configure GPIO pin : PC6 */
  GPIO_InitStruct.Pin = GPIO_PIN_6;
  GPIO_InitStruct.Mode = GPIO_MODE_AF_PP;
  GPIO_InitStruct.Pull = GPIO_NOPULL;
  GPIO_InitStruct.Speed = GPIO_SPEED_FREQ_LOW;
  GPIO_InitStruct.Alternate = GPIO_AF13_SAI2;
  HAL_GPIO_Init(GPIOC, &GPIO_InitStruct);

  /*Configure GPIO pins : PA8 PA10 */
  GPIO_InitStruct.Pin = GPIO_PIN_8|GPIO_PIN_10;
  GPIO_InitStruct.Mode = GPIO_MODE_AF_PP;
  GPIO_InitStruct.Pull = GPIO_NOPULL;
  GPIO_InitStruct.Speed = GPIO_SPEED_FREQ_VERY_HIGH;
  GPIO_InitStruct.Alternate = GPIO_AF10_OTG_FS;
  HAL_GPIO_Init(GPIOA, &GPIO_InitStruct);

  /*Configure GPIO pin : PA9 */
  GPIO_InitStruct.Pin = GPIO_PIN_9;
  GPIO_InitStruct.Mode = GPIO_MODE_INPUT;
  GPIO_InitStruct.Pull = GPIO_NOPULL;
  HAL_GPIO_Init(GPIOA, &GPIO_InitStruct);

  /*Configure GPIO pins : PC10 PC11 */
  GPIO_InitStruct.Pin = GPIO_PIN_10|GPIO_PIN_11;
  GPIO_InitStruct.Mode = GPIO_MODE_AF_PP;
  GPIO_InitStruct.Pull = GPIO_NOPULL;
  GPIO_InitStruct.Speed = GPIO_SPEED_FREQ_VERY_HIGH;
  GPIO_InitStruct.Alternate = GPIO_AF12_SDMMC1;
  HAL_GPIO_Init(GPIOC, &GPIO_InitStruct);

  /*Configure GPIO pin : PD0 */
  GPIO_InitStruct.Pin = GPIO_PIN_0;
  GPIO_InitStruct.Mode = GPIO_MODE_AF_PP;
  GPIO_InitStruct.Pull = GPIO_NOPULL;
  GPIO_InitStruct.Speed = GPIO_SPEED_FREQ_VERY_HIGH;
  GPIO_InitStruct.Alternate = GPIO_AF9_CAN1;
  HAL_GPIO_Init(GPIOD, &GPIO_InitStruct);

  /*Configure GPIO pins : PB3 PB5 */
  GPIO_InitStruct.Pin = GPIO_PIN_3|GPIO_PIN_5;
  GPIO_InitStruct.Mode = GPIO_MODE_AF_PP;
  GPIO_InitStruct.Pull = GPIO_NOPULL;
  GPIO_InitStruct.Speed = GPIO_SPEED_FREQ_VERY_HIGH;
  GPIO_InitStruct.Alternate = GPIO_AF6_SPI3;
  HAL_GPIO_Init(GPIOB, &GPIO_InitStruct);

  /*Configure GPIO pin : PE0 */
  GPIO_InitStruct.Pin = GPIO_PIN_0;
  GPIO_InitStruct.Mode = GPIO_MODE_AF_PP;
  GPIO_InitStruct.Pull = GPIO_NOPULL;
  GPIO_InitStruct.Speed = GPIO_SPEED_FREQ_LOW;
  GPIO_InitStruct.Alternate = GPIO_AF2_TIM4;
  HAL_GPIO_Init(GPIOE, &GPIO_InitStruct);

  /* EXTI interrupt init*/
  HAL_NVIC_SetPriority(EXTI15_10_IRQn, 0, 0);
  HAL_NVIC_EnableIRQ(EXTI15_10_IRQn);

}

/* USER CODE BEGIN 4 */
#ifdef __GNUC__
#define PUTCHAR_PROTOTYPE int __io_putchar(int ch)
#else
  #define PUTCHAR_PROTOTYPE int fputc(int ch, FILE *f)
#endif /* __GNUC__ */
PUTCHAR_PROTOTYPE
{
  HAL_UART_Transmit(&huart5, (uint8_t *)&ch, 1, 0xFFFF);
  return ch;
}
/* USER CODE END 4 */

void Error_Handler(void)
{
  __disable_irq();
  while (1)
  {
  }
}
